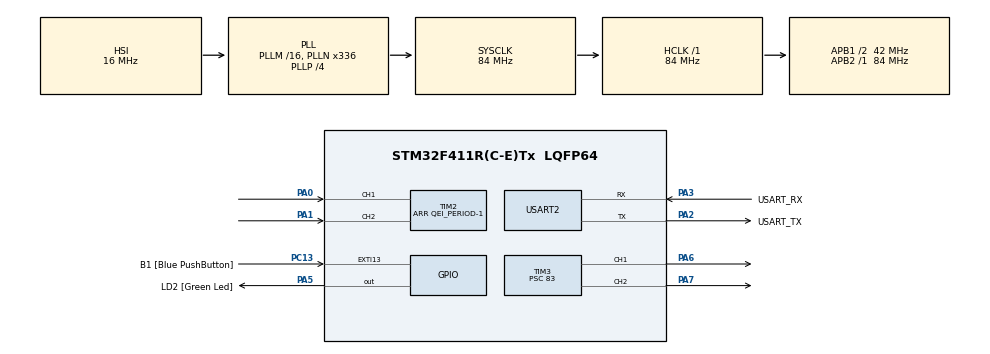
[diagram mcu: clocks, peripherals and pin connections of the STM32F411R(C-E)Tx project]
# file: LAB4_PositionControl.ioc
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Mcu.Family=STM32F4
Mcu.Name=STM32F411R(C-E)Tx
Mcu.Package=LQFP64
Mcu.UserConstants=QEI_PERIOD,307200
NVIC.PriorityGroup=NVIC_PRIORITYGROUP_0
PA0-WKUP.Signal=S_TIM2_CH1_ETR
PA1.Signal=S_TIM2_CH2
PA13.GPIO_Label=TMS
PA13.Mode=Serial_Wire
PA13.Signal=SYS_JTMS-SWDIO
PA14.GPIO_Label=TCK
PA14.Mode=Serial_Wire
PA14.Signal=SYS_JTCK-SWCLK
PA2.GPIO_Label=USART_TX
PA2.Mode=Asynchronous
PA2.Signal=USART2_TX
PA3.GPIO_Label=USART_RX
PA3.Mode=Asynchronous
PA3.Signal=USART2_RX
PA5.GPIO_Label=LD2 [Green Led]
PA5.Signal=GPIO_Output
PA6.Signal=S_TIM3_CH1
PA7.Signal=S_TIM3_CH2
PB3.GPIO_Label=SWO
PB3.Signal=SYS_JTDO-SWO
PC13-ANTI_TAMP.GPIO_Label=B1 [Blue PushButton]
PC13-ANTI_TAMP.GPIO_ModeDefaultEXTI=GPIO_MODE_IT_FALLING
PC13-ANTI_TAMP.Signal=GPXTI13
PC14-OSC32_IN.Mode=LSE-External-Oscillator
PC14-OSC32_IN.Signal=RCC_OSC32_IN
PC15-OSC32_OUT.Mode=LSE-External-Oscillator
PC15-OSC32_OUT.Signal=RCC_OSC32_OUT
PH0\ -\ OSC_IN.Mode=HSE-External-Clock-Source
PH0\ -\ OSC_IN.Signal=RCC_OSC_IN
PH1\ -\ OSC_OUT.Mode=HSE-External-Clock-Source
PH1\ -\ OSC_OUT.Signal=RCC_OSC_OUT
ProjectManager.HeapSize=0x200
ProjectManager.StackSize=0x400
ProjectManager.TargetToolchain=STM32CubeIDE
RCC.48MHZClocksFreq_Value=84000000
RCC.AHBFreq_Value=84000000
RCC.APB1CLKDivider=RCC_HCLK_DIV2
RCC.APB1Freq_Value=42000000
RCC.APB1TimFreq_Value=84000000
RCC.APB2Freq_Value=84000000
RCC.APB2TimFreq_Value=84000000
RCC.CortexFreq_Value=84000000
RCC.FLatency-AdvancedSettings=FLASH_LATENCY_2
RCC.HCLKFreq_Value=84000000
RCC.HSE_VALUE=8000000
RCC.HSI_VALUE=16000000
RCC.PLLN=336
RCC.PLLP=RCC_PLLP_DIV4
RCC.SYSCLKFreq_VALUE=84000000
RCC.SYSCLKSource=RCC_SYSCLKSOURCE_PLLCLK
RCC.VCOOutputFreq_Value=336000000
SH.S_TIM2_CH1_ETR.0=TIM2_CH1,Encoder_Interface
SH.S_TIM2_CH2.0=TIM2_CH2,Encoder_Interface
SH.S_TIM3_CH1.0=TIM3_CH1,PWM Generation1 CH1
SH.S_TIM3_CH2.0=TIM3_CH2,PWM Generation2 CH2
TIM2.EncoderMode=TIM_ENCODERMODE_TI12
TIM2.Period=QEI_PERIOD-1
TIM3.Channel-PWM\ Generation1\ CH1=TIM_CHANNEL_1
TIM3.Channel-PWM\ Generation2\ CH2=TIM_CHANNEL_2
TIM3.Period=999
TIM3.Prescaler=83
USART2.VirtualMode=VM_ASYNC
VP_TIM3_VS_ClockSourceINT.Mode=Internal
board=NUCLEO-F411RE

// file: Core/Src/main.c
/* USER CODE BEGIN Header */
/**
  ******************************************************************************
  * @file           : main.c
  * @brief          : Main program body
  ******************************************************************************
  * @attention
  *
  * Copyright (c) 2023 STMicroelectronics.
  * All rights reserved.
  *
  * This software is licensed under terms that can be found in the LICENSE file
  * in the root directory of this software component.
  * If no LICENSE file comes with this software, it is provided AS-IS.
  *
  ******************************************************************************
  */
/* USER CODE END Header */
#include "main.h"

/* USER CODE BEGIN Includes */
#include "math.h"
/* USER CODE END Includes */

TIM_HandleTypeDef htim2;
TIM_HandleTypeDef htim3;

UART_HandleTypeDef huart2;

/* USER CODE BEGIN PV */
float QEIReadRaw = 0;
uint32_t DutyCycle = 0;
float Position = 0;
int Turn;

int ReferencePosition;
float kp = 2;
float ki = 0.11;
float kd = 0.8;
float e;
float eintegral;
float edifferential;
float eprev;
float pout;
/* USER CODE END PV */

void SystemClock_Config(void);
static void MX_GPIO_Init(void);
static void MX_USART2_UART_Init(void);
static void MX_TIM2_Init(void);
static void MX_TIM3_Init(void);
/* USER CODE BEGIN PFP */
float PIDControl();
/* USER CODE END PFP */

int main(void)
{

  /* MCU Configuration--------------------------------------------------------*/

  /* Reset of all peripherals, Initializes the Flash interface and the Systick. */
  HAL_Init();

  /* Configure the system clock */
  SystemClock_Config();

  /* Initialize all configured peripherals */
  MX_GPIO_Init();
  MX_USART2_UART_Init();
  MX_TIM2_Init();
  MX_TIM3_Init();
  /* USER CODE BEGIN 2 */
  HAL_TIM_Encoder_Start(&htim2, TIM_CHANNEL_1|TIM_CHANNEL_2);
  HAL_TIM_Base_Start(&htim3);
  HAL_TIM_PWM_Start(&htim3, TIM_CHANNEL_1);
  HAL_TIM_PWM_Start(&htim3, TIM_CHANNEL_2);
  /* USER CODE END 2 */

  /* Infinite loop */
  while (1)
  {

    /* USER CODE BEGIN 3 */
		static uint64_t timestamp = 0;
		if(HAL_GetTick()>=timestamp)
		{
			timestamp = HAL_GetTick()+100;
			QEIReadRaw = __HAL_TIM_GET_COUNTER(&htim2);
			Position = (__HAL_TIM_GET_COUNTER(&htim2)*360)/3072.0;
		}
		DutyCycle = PIDControl();
		if(Turn == 0)
		{
			__HAL_TIM_SET_COMPARE(&htim3,TIM_CHANNEL_1,DutyCycle*10);
			__HAL_TIM_SET_COMPARE(&htim3,TIM_CHANNEL_2,0);
		}
		if(Turn == 1)
		{
			__HAL_TIM_SET_COMPARE(&htim3,TIM_CHANNEL_1,0);
			__HAL_TIM_SET_COMPARE(&htim3,TIM_CHANNEL_2,DutyCycle*10);
		}
  }
  /* USER CODE END 3 */
}

void SystemClock_Config(void)
{
  RCC_OscInitTypeDef RCC_OscInitStruct = {0};
  RCC_ClkInitTypeDef RCC_ClkInitStruct = {0};

  /** Configure the main internal regulator output voltage
  */
  __HAL_RCC_PWR_CLK_ENABLE();
  __HAL_PWR_VOLTAGESCALING_CONFIG(PWR_REGULATOR_VOLTAGE_SCALE1);

  /** Initializes the RCC Oscillators according to the specified parameters
  * in the RCC_OscInitTypeDef structure.
  */
  RCC_OscInitStruct.OscillatorType = RCC_OSCILLATORTYPE_HSI;
  RCC_OscInitStruct.HSIState = RCC_HSI_ON;
  RCC_OscInitStruct.HSICalibrationValue = RCC_HSICALIBRATION_DEFAULT;
  RCC_OscInitStruct.PLL.PLLState = RCC_PLL_ON;
  RCC_OscInitStruct.PLL.PLLSource = RCC_PLLSOURCE_HSI;
  RCC_OscInitStruct.PLL.PLLM = 16;
  RCC_OscInitStruct.PLL.PLLN = 336;
  RCC_OscInitStruct.PLL.PLLP = RCC_PLLP_DIV4;
  RCC_OscInitStruct.PLL.PLLQ = 4;
  if (HAL_RCC_OscConfig(&RCC_OscInitStruct) != HAL_OK)
  {
    Error_Handler();
  }

  /** Initializes the CPU, AHB and APB buses clocks
  */
  RCC_ClkInitStruct.ClockType = RCC_CLOCKTYPE_HCLK|RCC_CLOCKTYPE_SYSCLK
                              |RCC_CLOCKTYPE_PCLK1|RCC_CLOCKTYPE_PCLK2;
  RCC_ClkInitStruct.SYSCLKSource = RCC_SYSCLKSOURCE_PLLCLK;
  RCC_ClkInitStruct.AHBCLKDivider = RCC_SYSCLK_DIV1;
  RCC_ClkInitStruct.APB1CLKDivider = RCC_HCLK_DIV2;
  RCC_ClkInitStruct.APB2CLKDivider = RCC_HCLK_DIV1;

  if (HAL_RCC_ClockConfig(&RCC_ClkInitStruct, FLASH_LATENCY_2) != HAL_OK)
  {
    Error_Handler();
  }
}

static void MX_TIM2_Init(void)
{

  TIM_Encoder_InitTypeDef sConfig = {0};
  TIM_MasterConfigTypeDef sMasterConfig = {0};

  htim2.Instance = TIM2;
  htim2.Init.Prescaler = 0;
  htim2.Init.CounterMode = TIM_COUNTERMODE_UP;
  htim2.Init.Period = QEI_PERIOD-1;
  htim2.Init.ClockDivision = TIM_CLOCKDIVISION_DIV1;
  htim2.Init.AutoReloadPreload = TIM_AUTORELOAD_PRELOAD_DISABLE;
  sConfig.EncoderMode = TIM_ENCODERMODE_TI12;
  sConfig.IC1Polarity = TIM_ICPOLARITY_RISING;
  sConfig.IC1Selection = TIM_ICSELECTION_DIRECTTI;
  sConfig.IC1Prescaler = TIM_ICPSC_DIV1;
  sConfig.IC1Filter = 0;
  sConfig.IC2Polarity = TIM_ICPOLARITY_RISING;
  sConfig.IC2Selection = TIM_ICSELECTION_DIRECTTI;
  sConfig.IC2Prescaler = TIM_ICPSC_DIV1;
  sConfig.IC2Filter = 0;
  if (HAL_TIM_Encoder_Init(&htim2, &sConfig) != HAL_OK)
  {
    Error_Handler();
  }
  sMasterConfig.MasterOutputTrigger = TIM_TRGO_RESET;
  sMasterConfig.MasterSlaveMode = TIM_MASTERSLAVEMODE_DISABLE;
  if (HAL_TIMEx_MasterConfigSynchronization(&htim2, &sMasterConfig) != HAL_OK)
  {
    Error_Handler();
  }

}

static void MX_TIM3_Init(void)
{

  TIM_ClockConfigTypeDef sClockSourceConfig = {0};
  TIM_MasterConfigTypeDef sMasterConfig = {0};
  TIM_OC_InitTypeDef sConfigOC = {0};

  htim3.Instance = TIM3;
  htim3.Init.Prescaler = 83;
  htim3.Init.CounterMode = TIM_COUNTERMODE_UP;
  htim3.Init.Period = 999;
  htim3.Init.ClockDivision = TIM_CLOCKDIVISION_DIV1;
  htim3.Init.AutoReloadPreload = TIM_AUTORELOAD_PRELOAD_DISABLE;
  if (HAL_TIM_Base_Init(&htim3) != HAL_OK)
  {
    Error_Handler();
  }
  sClockSourceConfig.ClockSource = TIM_CLOCKSOURCE_INTERNAL;
  if (HAL_TIM_ConfigClockSource(&htim3, &sClockSourceConfig) != HAL_OK)
  {
    Error_Handler();
  }
  if (HAL_TIM_PWM_Init(&htim3) != HAL_OK)
  {
    Error_Handler();
  }
  sMasterConfig.MasterOutputTrigger = TIM_TRGO_RESET;
  sMasterConfig.MasterSlaveMode = TIM_MASTERSLAVEMODE_DISABLE;
  if (HAL_TIMEx_MasterConfigSynchronization(&htim3, &sMasterConfig) != HAL_OK)
  {
    Error_Handler();
  }
  sConfigOC.OCMode = TIM_OCMODE_PWM1;
  sConfigOC.Pulse = 0;
  sConfigOC.OCPolarity = TIM_OCPOLARITY_HIGH;
  sConfigOC.OCFastMode = TIM_OCFAST_DISABLE;
  if (HAL_TIM_PWM_ConfigChannel(&htim3, &sConfigOC, TIM_CHANNEL_1) != HAL_OK)
  {
    Error_Handler();
  }
  if (HAL_TIM_PWM_ConfigChannel(&htim3, &sConfigOC, TIM_CHANNEL_2) != HAL_OK)
  {
    Error_Handler();
  }
  HAL_TIM_MspPostInit(&htim3);

}

static void MX_USART2_UART_Init(void)
{

  huart2.Instance = USART2;
  huart2.Init.BaudRate = 115200;
  huart2.Init.WordLength = UART_WORDLENGTH_8B;
  huart2.Init.StopBits = UART_STOPBITS_1;
  huart2.Init.Parity = UART_PARITY_NONE;
  huart2.Init.Mode = UART_MODE_TX_RX;
  huart2.Init.HwFlowCtl = UART_HWCONTROL_NONE;
  huart2.Init.OverSampling = UART_OVERSAMPLING_16;
  if (HAL_UART_Init(&huart2) != HAL_OK)
  {
    Error_Handler();
  }

}

static void MX_GPIO_Init(void)
{
  GPIO_InitTypeDef GPIO_InitStruct = {0};

  /* GPIO Ports Clock Enable */
  __HAL_RCC_GPIOC_CLK_ENABLE();
  __HAL_RCC_GPIOH_CLK_ENABLE();
  __HAL_RCC_GPIOA_CLK_ENABLE();
  __HAL_RCC_GPIOB_CLK_ENABLE();

  /*Configure GPIO pin Output Level */
  HAL_GPIO_WritePin(LD2_GPIO_Port, LD2_Pin, GPIO_PIN_RESET);

  /*Configure GPIO pin : B1_Pin */
  GPIO_InitStruct.Pin = B1_Pin;
  GPIO_InitStruct.Mode = GPIO_MODE_IT_FALLING;
  GPIO_InitStruct.Pull = GPIO_NOPULL;
  HAL_GPIO_Init(B1_GPIO_Port, &GPIO_InitStruct);

  /*Configure GPIO pin : LD2_Pin */
  GPIO_InitStruct.Pin = LD2_Pin;
  GPIO_InitStruct.Mode = GPIO_MODE_OUTPUT_PP;
  GPIO_InitStruct.Pull = GPIO_NOPULL;
  GPIO_InitStruct.Speed = GPIO_SPEED_FREQ_LOW;
  HAL_GPIO_Init(LD2_GPIO_Port, &GPIO_InitStruct);

}

/* USER CODE BEGIN 4 */
float PIDControl()
{
	/*Error*/
	e = ReferencePosition - Position;
	/*Integral Error*/
	eintegral = 0;
	eintegral = eintegral+e*100;
	/*Differential Error*/
	edifferential = (e-eprev)/100;

	/*PID Control*/
	float y;
	pout = (kp*e)+(ki*eintegral)+(kd*edifferential);

	eprev = e;

	/*Out to Duty Cycle*/
	y = fabs(pout);
	if(y>100) y = 100;

	/*Turn Condition*/
	Turn = 0;
	if(pout < 0)Turn = 1;

	return y;
}
/* USER CODE END 4 */

void Error_Handler(void)
{
  __disable_irq();
  while (1)
  {
  }
}
